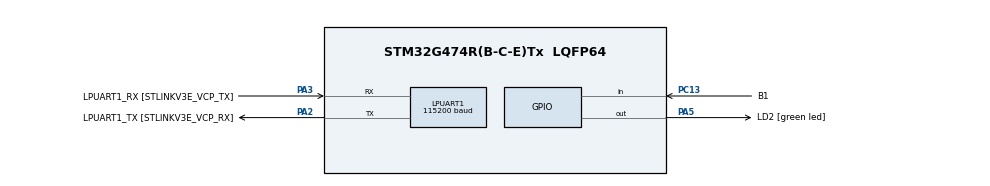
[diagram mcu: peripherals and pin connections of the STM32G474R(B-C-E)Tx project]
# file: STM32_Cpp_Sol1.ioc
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LPUART1.BaudRate=115200
Mcu.Family=STM32G4
Mcu.Name=STM32G474R(B-C-E)Tx
Mcu.Package=LQFP64
NVIC.PriorityGroup=NVIC_PRIORITYGROUP_4
PA13.GPIO_Label=T_SWDIO
PA13.Mode=Trace_Asynchronous_SW
PA13.Signal=SYS_JTMS-SWDIO
PA14.GPIO_Label=T_SWCLK
PA14.Mode=Trace_Asynchronous_SW
PA14.Signal=SYS_JTCK-SWCLK
PA2.GPIO_Label=LPUART1_TX [STLINKV3E_VCP_RX]
PA2.Mode=Asynchronous
PA2.Signal=LPUART1_TX
PA3.GPIO_Label=LPUART1_RX [STLINKV3E_VCP_TX]
PA3.Mode=Asynchronous
PA3.Signal=LPUART1_RX
PA5.GPIO_Label=LD2 [green led]
PA5.Signal=GPIO_Output
PB3.GPIO_Label=T_SWO
PB3.Mode=Trace_Asynchronous_SW
PB3.Signal=SYS_JTDO-SWO
PC13.GPIO_Label=B1
PC13.Signal=GPIO_Input
PC14-OSC32_IN.GPIO_Label=RCC_OSC32_IN
PC14-OSC32_IN.Mode=LSE-External-Oscillator
PC14-OSC32_IN.Signal=RCC_OSC32_IN
PC15-OSC32_OUT.GPIO_Label=RCC_OSC32_OUT
PC15-OSC32_OUT.Mode=LSE-External-Oscillator
PC15-OSC32_OUT.Signal=RCC_OSC32_OUT
PF0-OSC_IN.GPIO_Label=RCC_OSC_IN
PF0-OSC_IN.Mode=HSE-External-Oscillator
PF0-OSC_IN.Signal=RCC_OSC_IN
PF1-OSC_OUT.GPIO_Label=RCC_OSC_OUT
PF1-OSC_OUT.Mode=HSE-External-Oscillator
PF1-OSC_OUT.Signal=RCC_OSC_OUT
ProjectManager.HeapSize=0x200
ProjectManager.StackSize=0x400
ProjectManager.TargetToolchain=STM32CubeIDE
RCC.ADC12Freq_Value=170000000
RCC.ADC345Freq_Value=170000000
RCC.AHBFreq_Value=170000000
RCC.APB1Freq_Value=170000000
RCC.APB1TimFreq_Value=170000000
RCC.APB2Freq_Value=170000000
RCC.APB2TimFreq_Value=170000000
RCC.CortexFreq_Value=170000000
RCC.EXTERNAL_CLOCK_VALUE=12288000
RCC.HCLKFreq_Value=170000000
RCC.HSE_VALUE=24000000
RCC.HSI48_VALUE=48000000
RCC.HSI_VALUE=16000000
RCC.PLLM=RCC_PLLM_DIV6
RCC.PLLN=85
RCC.PLLSourceVirtual=RCC_PLLSOURCE_HSE
RCC.RTCClockSelection=RCC_RTCCLKSOURCE_LSE
RCC.SYSCLKFreq_VALUE=170000000
RCC.SYSCLKSource=RCC_SYSCLKSOURCE_PLLCLK
RCC.USBFreq_Value=170000000
RCC.VCOOutputFreq_Value=340000000
VP_SYS_VS_DBSignals.Mode=DisableDeadBatterySignals
board=NUCLEO-G474RE

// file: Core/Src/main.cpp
/* USER CODE BEGIN Header */
/**
  ******************************************************************************
  * @file           : main.c
  * @brief          : Main program body
  ******************************************************************************
  * @attention
  *
  * Copyright (c) 2024 STMicroelectronics.
  * All rights reserved.
  *
  * This software is licensed under terms that can be found in the LICENSE file
  * in the root directory of this software component.
  * If no LICENSE file comes with this software, it is provided AS-IS.
  *
  ******************************************************************************
  */
/* USER CODE END Header */
#include "main.hpp"

/* USER CODE BEGIN Includes */
#include <cstdio>
/* USER CODE END Includes */

void SystemClock_Config(void);
static void MX_GPIO_Init(void);
static void MX_LPUART1_UART_Init(void);

/* USER CODE BEGIN 0 */

template<uint8_t MaxValue>
void showCounter() {
	static uint8_t counter = 0U;
	char buffer[64];

	size_t size = sprintf(buffer,
			"\e[H\e[2J"			// clear screen
			"\e[1;31m"			// red foreground
			"Counter: "
			"\e[1;32;44m"		// blue bckg. green fg.
			" %03d "
			"\e[0m"				// reset attributes
			"\r\n", counter);

	++counter;

	if (counter > MaxValue) {
		counter = 0U;
	}

#ifdef LL_LPUART_ISR_TXE_TXFNF
	const uint8_t * ptr_buff = (uint8_t *)buffer;
	while(size--) {
		while(! (LPUART1->ISR & LL_LPUART_ISR_TXE_TXFNF)) {}
		LL_LPUART_TransmitData8(LPUART1, *(ptr_buff++));
	}

#else
	HAL_UART_Transmit(&hlpuart1, (uint8_t *)buffer, size, HAL_MAX_DELAY);
#endif

}

template<uint8_t Count>
void blinkLed() {
	static uint8_t counter = 0U;
	if (counter > Count) {
#ifndef LL_GPIO_PIN_5
	HAL_GPIO_TogglePin(LD2_GPIO_Port, LD2_Pin);
#else
	LL_GPIO_TogglePin(LD2_GPIO_Port, LD2_Pin);
#endif
		counter = 0U;
	}
	++counter;
}

/* USER CODE END 0 */

int main(void)
{

  /* MCU Configuration--------------------------------------------------------*/

  /* Reset of all peripherals, Initializes the Flash interface and the Systick. */
  LL_APB2_GRP1_EnableClock(LL_APB2_GRP1_PERIPH_SYSCFG);
  LL_APB1_GRP1_EnableClock(LL_APB1_GRP1_PERIPH_PWR);

  /* System interrupt init*/
  NVIC_SetPriorityGrouping(NVIC_PRIORITYGROUP_4);

  /** Disable the internal Pull-Up in Dead Battery pins of UCPD peripheral
  */
  LL_PWR_DisableUCPDDeadBattery();

  /* Configure the system clock */
  SystemClock_Config();

  /* Initialize all configured peripherals */
  MX_GPIO_Init();
  MX_LPUART1_UART_Init();
  /* USER CODE BEGIN 2 */

  auto displayCounter = showCounter<100>;
  auto displayLed = blinkLed<5>;

  /* USER CODE END 2 */

  /* Infinite loop */
  while (1)
  {

    /* USER CODE BEGIN 3 */
	displayCounter();
	displayLed();

#ifdef USE_HAL_DRIVER
	HAL_Delay(200);
#else
	LL_mDelay(200);
#endif

  }
  /* USER CODE END 3 */
}

void SystemClock_Config(void)
{
  LL_FLASH_SetLatency(LL_FLASH_LATENCY_4);
  while(LL_FLASH_GetLatency() != LL_FLASH_LATENCY_4)
  {
  }
  LL_PWR_EnableRange1BoostMode();
  LL_RCC_HSE_Enable();
   /* Wait till HSE is ready */
  while(LL_RCC_HSE_IsReady() != 1)
  {
  }

  LL_RCC_PLL_ConfigDomain_SYS(LL_RCC_PLLSOURCE_HSE, LL_RCC_PLLM_DIV_6, 85, LL_RCC_PLLR_DIV_2);
  LL_RCC_PLL_EnableDomain_SYS();
  LL_RCC_PLL_Enable();
   /* Wait till PLL is ready */
  while(LL_RCC_PLL_IsReady() != 1)
  {
  }

  LL_RCC_SetSysClkSource(LL_RCC_SYS_CLKSOURCE_PLL);
  LL_RCC_SetAHBPrescaler(LL_RCC_SYSCLK_DIV_2);
   /* Wait till System clock is ready */
  while(LL_RCC_GetSysClkSource() != LL_RCC_SYS_CLKSOURCE_STATUS_PLL)
  {
  }

  /* Insure 1us transition state at intermediate medium speed clock*/
  for (__IO uint32_t i = (170 >> 1); i !=0; i--);

  /* Set AHB prescaler*/
  LL_RCC_SetAHBPrescaler(LL_RCC_SYSCLK_DIV_1);
  LL_RCC_SetAPB1Prescaler(LL_RCC_APB1_DIV_1);
  LL_RCC_SetAPB2Prescaler(LL_RCC_APB2_DIV_1);

  LL_Init1msTick(170000000);

  LL_SetSystemCoreClock(170000000);
}

static void MX_LPUART1_UART_Init(void)
{

  LL_LPUART_InitTypeDef LPUART_InitStruct = {0};

  LL_GPIO_InitTypeDef GPIO_InitStruct = {0};

  LL_RCC_SetLPUARTClockSource(LL_RCC_LPUART1_CLKSOURCE_PCLK1);

  /* Peripheral clock enable */
  LL_APB1_GRP2_EnableClock(LL_APB1_GRP2_PERIPH_LPUART1);

  LL_AHB2_GRP1_EnableClock(LL_AHB2_GRP1_PERIPH_GPIOA);
  /**LPUART1 GPIO Configuration
  PA2   ------> LPUART1_TX
  PA3   ------> LPUART1_RX
  */
  GPIO_InitStruct.Pin = LPUART1_TX_Pin;
  GPIO_InitStruct.Mode = LL_GPIO_MODE_ALTERNATE;
  GPIO_InitStruct.Speed = LL_GPIO_SPEED_FREQ_LOW;
  GPIO_InitStruct.OutputType = LL_GPIO_OUTPUT_PUSHPULL;
  GPIO_InitStruct.Pull = LL_GPIO_PULL_NO;
  GPIO_InitStruct.Alternate = LL_GPIO_AF_12;
  LL_GPIO_Init(LPUART1_TX_GPIO_Port, &GPIO_InitStruct);

  GPIO_InitStruct.Pin = LPUART1_RX_Pin;
  GPIO_InitStruct.Mode = LL_GPIO_MODE_ALTERNATE;
  GPIO_InitStruct.Speed = LL_GPIO_SPEED_FREQ_LOW;
  GPIO_InitStruct.OutputType = LL_GPIO_OUTPUT_PUSHPULL;
  GPIO_InitStruct.Pull = LL_GPIO_PULL_NO;
  GPIO_InitStruct.Alternate = LL_GPIO_AF_12;
  LL_GPIO_Init(LPUART1_RX_GPIO_Port, &GPIO_InitStruct);

  LPUART_InitStruct.PrescalerValue = LL_LPUART_PRESCALER_DIV1;
  LPUART_InitStruct.BaudRate = 115200;
  LPUART_InitStruct.DataWidth = LL_LPUART_DATAWIDTH_8B;
  LPUART_InitStruct.StopBits = LL_LPUART_STOPBITS_1;
  LPUART_InitStruct.Parity = LL_LPUART_PARITY_NONE;
  LPUART_InitStruct.TransferDirection = LL_LPUART_DIRECTION_TX_RX;
  LPUART_InitStruct.HardwareFlowControl = LL_LPUART_HWCONTROL_NONE;
  LL_LPUART_Init(LPUART1, &LPUART_InitStruct);
  LL_LPUART_SetTXFIFOThreshold(LPUART1, LL_LPUART_FIFOTHRESHOLD_1_8);
  LL_LPUART_SetRXFIFOThreshold(LPUART1, LL_LPUART_FIFOTHRESHOLD_1_8);
  LL_LPUART_DisableFIFO(LPUART1);

  LL_LPUART_Enable(LPUART1);

  /* Polling LPUART1 initialisation */
  while((!(LL_LPUART_IsActiveFlag_TEACK(LPUART1))) || (!(LL_LPUART_IsActiveFlag_REACK(LPUART1))))
  {
  }

}

static void MX_GPIO_Init(void)
{
  LL_GPIO_InitTypeDef GPIO_InitStruct = {0};

  /* GPIO Ports Clock Enable */
  LL_AHB2_GRP1_EnableClock(LL_AHB2_GRP1_PERIPH_GPIOC);
  LL_AHB2_GRP1_EnableClock(LL_AHB2_GRP1_PERIPH_GPIOF);
  LL_AHB2_GRP1_EnableClock(LL_AHB2_GRP1_PERIPH_GPIOA);
  LL_AHB2_GRP1_EnableClock(LL_AHB2_GRP1_PERIPH_GPIOB);

  /**/
  LL_GPIO_ResetOutputPin(LD2_GPIO_Port, LD2_Pin);

  /**/
  GPIO_InitStruct.Pin = B1_Pin;
  GPIO_InitStruct.Mode = LL_GPIO_MODE_INPUT;
  GPIO_InitStruct.Pull = LL_GPIO_PULL_NO;
  LL_GPIO_Init(B1_GPIO_Port, &GPIO_InitStruct);

  /**/
  GPIO_InitStruct.Pin = LD2_Pin;
  GPIO_InitStruct.Mode = LL_GPIO_MODE_OUTPUT;
  GPIO_InitStruct.Speed = LL_GPIO_SPEED_FREQ_LOW;
  GPIO_InitStruct.OutputType = LL_GPIO_OUTPUT_PUSHPULL;
  GPIO_InitStruct.Pull = LL_GPIO_PULL_NO;
  LL_GPIO_Init(LD2_GPIO_Port, &GPIO_InitStruct);

}

void Error_Handler(void)
{
  __disable_irq();
  while (1)
  {
  }
}
